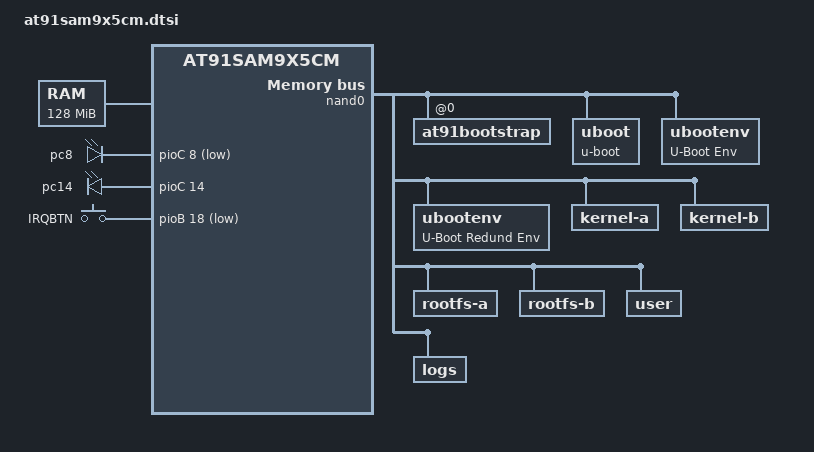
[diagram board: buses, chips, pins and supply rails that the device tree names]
/*
 * at91sam9x5cm.dtsi - Device Tree Include file for AT91SAM9x5 CPU Module
 *
 *  Copyright (C) 2012 Atmel,
 *                2012 Nicolas Ferre <nicolas.ferre@atmel.com>
 *
 * Licensed under GPLv2 or later.
 */

/ {
	memory {
		reg = <0x20000000 0x8000000>;
	};

	clocks {
		#address-cells = <1>;
		#size-cells = <1>;
		ranges;

		main_clock: clock@0 {
			compatible = "atmel,osc", "fixed-clock";
			clock-frequency = <12000000>;
		};
	};

	ahb {
		nand0: nand@40000000 {
			nand-bus-width = <8>;
			nand-ecc-mode = "hw";
			atmel,has-pmecc;	/* enable PMECC */
			atmel,pmecc-cap = <4>;
			atmel,pmecc-sector-size = <512>;
			atmel,pmecc-lookup-table-offset = <0x8000 0x10000>;
			nand-on-flash-bbt;
			status = "okay";

			at91bootstrap@0 {
				label = "at91bootstrap";
				reg = <0x0 0x20000>;
			};

			uboot@20000 {
				label = "u-boot";
				reg = <0x20000 0x80000>;
			};

			ubootenv@a0000 {
				label = "U-Boot Env";
				reg = <0xa0000 0x20000>;
			};

			ubootenv@c0000 {
				label = "U-Boot Redund Env";
				reg = <0xc0000 0x20000>;
			};

			kernel-a@e0000 {
				label = "kernel-a";
				reg = <0xe0000 0x280000>;
			};

			kernel-b@360000 {
				label = "kernel-b";
				reg = <0x360000 0x280000>;
			};

			rootfs-a@5e0000 {
				label = "rootfs-a";
				reg = <0x5e0000 0x2600000>;
			};

			rootfs-b@2be0000 {
				label = "rootfs-b";
				reg = <0x2be0000 0x2600000>;
			};

			user@51e0000 {
				label = "user";
				reg = <0x51e0000 0x2dc0000>;
			};

			logs@7fa0000 {
				label = "logs";
				reg = <0x7fa0000 0x60000>;
			};
		};
	};

	leds {
		compatible = "gpio-leds";

		pc8 {
			label = "pc8";
			gpios = <&pioC 8 1>;
			linux,default-trigger = "heartbeat";
		};

		pc14 {
			label = "pc14";
			gpios = <&pioC 14 0>;
		};
	};

	gpio_keys {
		compatible = "gpio-keys";
		#address-cells = <1>;
		#size-cells = <0>;
		irqbtn@pb18 {
			label = "IRQBTN";
			linux,code = <99>;
			gpios = <&pioB 18 1>;
			gpio-key,wakeup = <1>;
		};
	};

};
